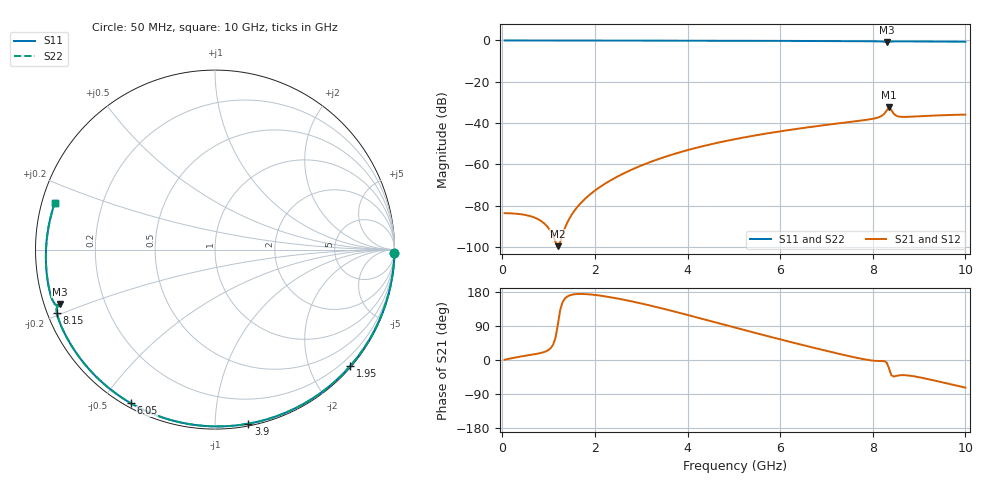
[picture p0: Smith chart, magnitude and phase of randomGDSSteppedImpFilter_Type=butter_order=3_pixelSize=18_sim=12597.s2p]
! freq	dB(S11)	phase(S11)	dB(S12)	phase(S12)
!  dB(S21)	phase(S21)	dB(S22)	phase(S22)
!S-par simulation data
#  GHz  S  DB  R 50
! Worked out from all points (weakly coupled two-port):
!   200 points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, 50 MHz to 10 GHz, reference 50 ohm
!   highest |S21| = -32.44 dB at 8.35 GHz (marker M1); lowest = -99.6 dB at 1.2 GHz (marker M2)
!   lowest |S11| = -0.7 dB at 8.3 GHz (marker M3), VSWR 23.33, Z = 2.21 - j8.49 ohm
!   |S11| at or under -10 dB: nowhere
!   |S22| runs from -0.8 to 0.0 dB; largest |S21 - S12| = 0
!   S11 on the Smith chart (normalised r, x): 50 MHz: open; 1.95 GHz: 0.02, -2.69; 3.9 GHz: 0.02, -1.21; 6.05 GHz: 0.02, -0.59; 8.15 GHz: 0.03, -0.19; 10 GHz: 0.04, +0.14
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0.05  -0.00 -1.1  -83.64 0.5  -83.64 0.5  -0.00 -1.1
0.6  -0.01 -12.7  -85.05 13.3  -85.05 13.3  -0.01 -12.7
1.2  -0.03 -25.3  -99.63 93.6  -99.63 93.6  -0.03 -25.3
1.65  -0.04 -34.6  -79.87 174.3  -79.87 174.3  -0.04 -34.6
1.75  -0.05 -36.7  -77.50 174.2  -77.50 174.2  -0.05 -36.7
1.95  -0.05 -40.7  -73.57 172.4  -73.57 172.4  -0.05 -40.7
2.25  -0.06 -46.8  -68.93 167.4  -68.93 167.4  -0.06 -46.8
2.6  -0.07 -53.8  -64.62 159.6  -64.62 159.6  -0.07 -53.8
3.4  -0.09 -69.5  -57.24 137.6  -57.24 137.6  -0.09 -69.5
3.9  -0.11 -79.1  -53.74 122.1  -53.74 122.1  -0.11 -79.1
5.05  -0.16 -100.6  -47.69 84.8  -47.69 84.8  -0.16 -100.6
6.05  -0.21 -118.8  -43.85 52.9  -43.85 52.9  -0.21 -118.8
6.7  -0.26 -130.6  -41.77 33.1  -41.77 33.1  -0.26 -130.6
7.85  -0.37 -152.1  -38.48 1.1  -38.48 1.1  -0.37 -152.1
8.15  -0.45 -158.3  -37.01 -2.7  -37.01 -2.7  -0.46 -158.3
8.25  -0.60 -160.4  -35.48 -2.9  -35.48 -2.9  -0.63 -160.4
8.3  -0.75 -160.7  -33.91 -6.6  -33.91 -6.6  -0.75 -160.2
8.35  -0.67 -160.2  -32.44 -21.9  -32.44 -21.9  -0.62 -160.1
8.5  -0.45 -163.6  -36.37 -42.3  -36.37 -42.3  -0.45 -163.6
8.6  -0.45 -165.8  -36.97 -40.1  -36.97 -40.1  -0.44 -165.9
9.3  -0.53 179.4  -36.39 -53.3  -36.39 -53.3  -0.53 179.4
10  -0.63 163.7  -35.92 -72.9  -35.92 -72.9  -0.63 163.7
